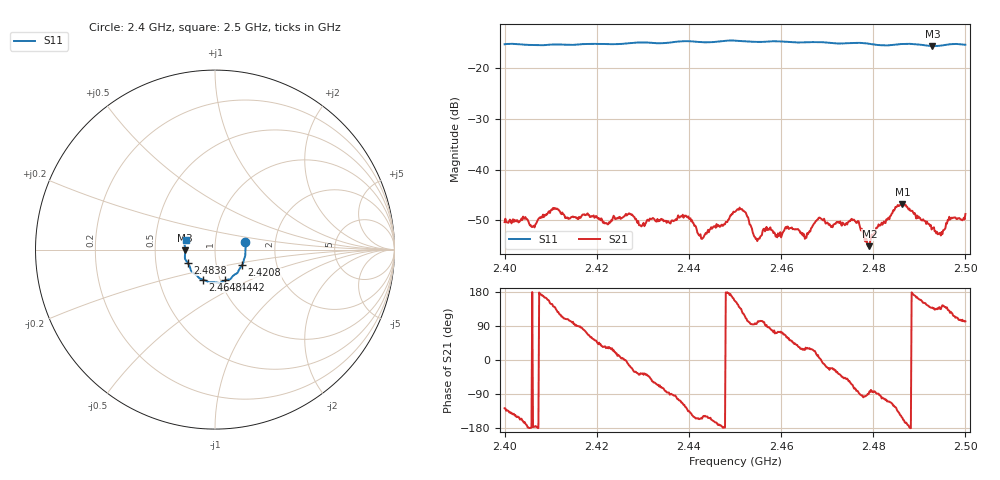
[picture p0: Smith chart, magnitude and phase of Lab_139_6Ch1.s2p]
# Hz S RI R 50
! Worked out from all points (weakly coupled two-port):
!   601 points, 2.4 GHz to 2.5 GHz, reference 50 ohm
!   highest |S21| = -46.83 dB at 2.4863 GHz (marker M1); lowest = -55.1 dB at 2.4792 GHz (marker M2)
!   lowest |S11| = -15.6 dB at 2.4928 GHz (marker M3), VSWR 1.40, Z = 35.8 - j0.35 ohm
!   |S11| at or under -10 dB: start of sweep to end of sweep
!   S12 and S22 are empty: the file has one direction only
!   S11 on the Smith chart (normalised r, x): 2.4 GHz: 1.40, +0.12; 2.4208 GHz: 1.33, -0.24; 2.4442 GHz: 1.05, -0.37; 2.4648 GHz: 0.83, -0.29; 2.4838 GHz: 0.73, -0.11; 2.5 GHz: 0.72, +0.08
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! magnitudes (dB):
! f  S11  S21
! 2.4 GHz  -15.3  -50.4
! 2.4062 GHz  -15.4  -51.2
! 2.411 GHz  -15.3  -47.6
! 2.4167 GHz  -15.2  -49.2
! 2.4208 GHz  -15.2  -50.0
! 2.4333 GHz  -15.1  -50.2
! 2.4392 GHz  -14.6  -49.1
! 2.4427 GHz  -14.8  -53.6
! 2.4442 GHz  -14.9  -51.9
! 2.45 GHz  -14.5  -48.3
! 2.452 GHz  -14.7  -48.2
! 2.4548 GHz  -14.8  -54.1
! 2.4572 GHz  -14.7  -51.7
! 2.4648 GHz  -14.9  -53.1
! 2.4667 GHz  -14.8  -51.4
! 2.4757 GHz  -15.0  -49.9
! 2.4792 GHz  -15.2  -55.1
! 2.4833 GHz  -15.5  -49.5
! 2.4838 GHz  -15.4  -49.1
! 2.4863 GHz  -15.2  -46.8
! 2.4928 GHz  -15.6  -51.5
! 2.5 GHz  -15.3  -48.8
